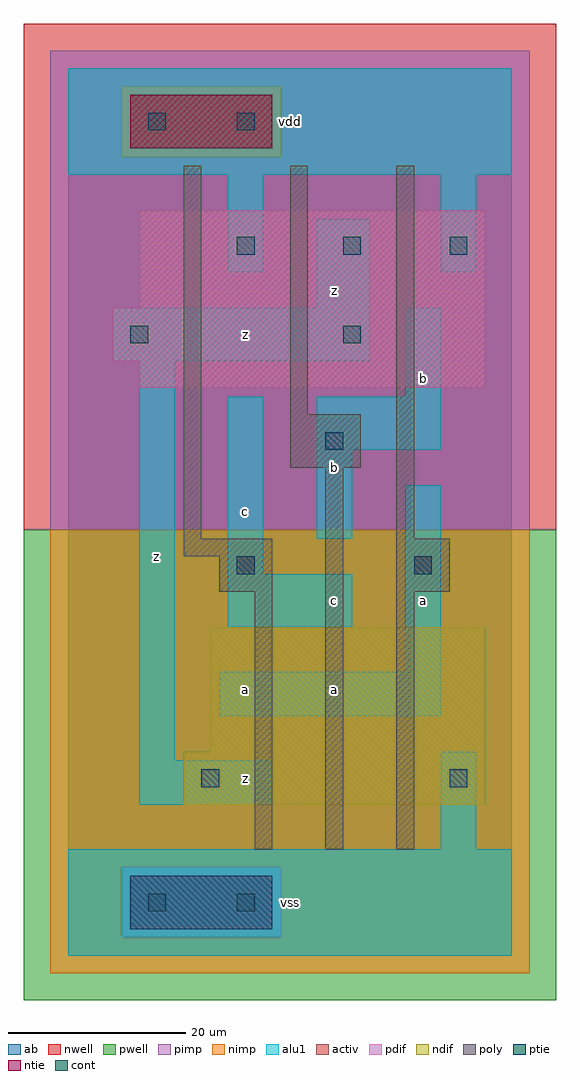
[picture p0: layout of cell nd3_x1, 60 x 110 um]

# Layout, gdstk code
import gdstk
lib = gdstk.Library(unit=1e-6, precision=1e-09)
def R(c, l, rs):  # rectangles x0, y0, x1, y1
    for r in rs: c.add(gdstk.rectangle(r[:2], r[2:], *l))
def A(c, l, x, y, w, h, nx, ny, dx, dy):  # array of equal rectangles
    R(c, l, [(x+i*dx, y+j*dy, x+i*dx+w, y+j*dy+h) for i in range(nx) for j in range(ny)])
ndif = (3, 0)
pdif = (4, 0)
ntie = (5, 0)
ptie = (6, 0)
cont = (25, 0)
pwell = (41, 0)
nwell = (42, 0)
activ = (43, 0)
pimp = (44, 0)
nimp = (45, 0)
poly = (46, 0)
alu1 = (49, 0)
ab = (63, 0)

nd3_x1 = lib.new_cell('nd3_x1')
R(nd3_x1, ndif, [(13,17,47,23), (16,23,47,37)])
R(nd3_x1, pdif, [(8,64,47,67), (5,67,47,73), (8,73,47,84)])
R(nd3_x1, ntie, [(7,91,23,97)])
R(nd3_x1, ptie, [(7,3,23,9)])
A(nd3_x1, cont, 19, 79, 2, 2, 3, 1, 12, 0)
R(nd3_x1, cont, [(9,5,11,7), (19,5,21,7), (15,19,17,21), (43,19,45,21), (19,43,21,45), (39,43,41,45), (29,57,31,59), (7,69,9,71), (31,69,33,71), (9,93,11,95), (19,93,21,95)])
R(nd3_x1, pwell, [(-5,-5,55,48)])
R(nd3_x1, nwell, [(-5,48,55,105)])
R(nd3_x1, activ, [(7,3,23,9), (13,17,47,23), (16,23,47,37), (8,64,47,67), (5,67,47,73), (8,73,47,84), (7,91,23,97)])
R(nd3_x1, pimp, [(6,2,24,10), (-2,48,52,90), (-2,90,6,98), (24,90,52,98), (-2,98,52,102)])
R(nd3_x1, nimp, [(-2,-2,52,2), (-2,2,6,10), (24,2,52,10), (-2,10,52,48), (6,90,24,98)])
R(nd3_x1, poly, [(21,12,23,41), (29,12,31,55), (37,12,39,41), (17,41,23,45), (37,41,43,47), (13,45,23,47), (13,47,15,89), (37,47,39,89), (25,55,33,61), (25,61,27,89)])
R(nd3_x1, alu1, [(0,0,50,12), (42,12,46,23), (8,17,23,22), (8,22,12,67), (17,27,42,32), (38,32,42,53), (18,37,32,43), (18,43,22,63), (28,47,32,57), (28,57,42,63), (38,63,42,73), (5,67,34,73), (28,73,34,83), (18,77,22,88), (42,77,46,88), (0,88,50,100)])
R(nd3_x1, ab, [(0,0,50,100)])
nd3_x1.add(gdstk.Label('z', (20,20), layer=49, texttype=0))
nd3_x1.add(gdstk.Label('z', (10,45), layer=49, texttype=0))
nd3_x1.add(gdstk.Label('a', (20,30), layer=49, texttype=0))
nd3_x1.add(gdstk.Label('c', (20,50), layer=49, texttype=0))
nd3_x1.add(gdstk.Label('z', (20,70), layer=49, texttype=0))
nd3_x1.add(gdstk.Label('vss', (25,6), layer=49, texttype=0))
nd3_x1.add(gdstk.Label('c', (30,40), layer=49, texttype=0))
nd3_x1.add(gdstk.Label('a', (30,30), layer=49, texttype=0))
nd3_x1.add(gdstk.Label('b', (30,55), layer=49, texttype=0))
nd3_x1.add(gdstk.Label('z', (30,75), layer=49, texttype=0))
nd3_x1.add(gdstk.Label('vdd', (25,94), layer=49, texttype=0))
nd3_x1.add(gdstk.Label('a', (40,40), layer=49, texttype=0))
nd3_x1.add(gdstk.Label('b', (40,65), layer=49, texttype=0))

lib.write_gds('nd3_x1.gds')
